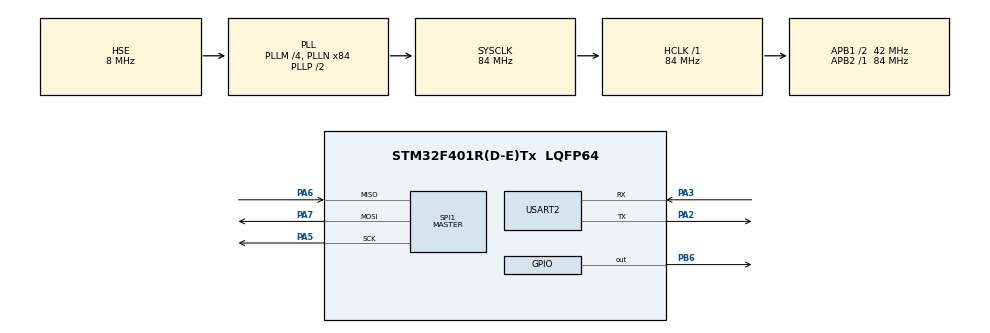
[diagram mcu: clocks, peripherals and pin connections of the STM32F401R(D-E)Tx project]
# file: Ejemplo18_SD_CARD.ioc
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FATFS._USE_CHMOD=1
Mcu.Family=STM32F4
Mcu.Name=STM32F401R(D-E)Tx
Mcu.Package=LQFP64
NVIC.PriorityGroup=NVIC_PRIORITYGROUP_4
PA13.Mode=Serial_Wire
PA13.Signal=SYS_JTMS-SWDIO
PA14.Mode=Serial_Wire
PA14.Signal=SYS_JTCK-SWCLK
PA2.Mode=Asynchronous
PA2.Signal=USART2_TX
PA3.Mode=Asynchronous
PA3.Signal=USART2_RX
PA5.Mode=Full_Duplex_Master
PA5.Signal=SPI1_SCK
PA6.Mode=Full_Duplex_Master
PA6.Signal=SPI1_MISO
PA7.Mode=Full_Duplex_Master
PA7.Signal=SPI1_MOSI
PB6.PinState=GPIO_PIN_SET
PB6.Signal=GPIO_Output
PH0\ -\ OSC_IN.Mode=HSE-External-Clock-Source
PH0\ -\ OSC_IN.Signal=RCC_OSC_IN
PH1\ -\ OSC_OUT.Mode=HSE-External-Clock-Source
PH1\ -\ OSC_OUT.Signal=RCC_OSC_OUT
ProjectManager.HeapSize=0x200
ProjectManager.StackSize=0x400
ProjectManager.TargetToolchain=STM32CubeIDE
RCC.48MHZClocksFreq_Value=42000000
RCC.AHBFreq_Value=84000000
RCC.APB1CLKDivider=RCC_HCLK_DIV2
RCC.APB1Freq_Value=42000000
RCC.APB1TimFreq_Value=84000000
RCC.APB2Freq_Value=84000000
RCC.APB2TimFreq_Value=84000000
RCC.CortexFreq_Value=84000000
RCC.HCLKFreq_Value=84000000
RCC.HSE_VALUE=8000000
RCC.HSI_VALUE=16000000
RCC.LSE_VALUE=32768
RCC.PLLM=4
RCC.PLLN=84
RCC.PLLSourceVirtual=RCC_PLLSOURCE_HSE
RCC.SYSCLKFreq_VALUE=84000000
RCC.SYSCLKSource=RCC_SYSCLKSOURCE_PLLCLK
RCC.VCOOutputFreq_Value=168000000
SPI1.BaudRatePrescaler=SPI_BAUDRATEPRESCALER_16
SPI1.Direction=SPI_DIRECTION_2LINES
SPI1.Mode=SPI_MODE_MASTER
SPI1.VirtualType=VM_MASTER
USART2.VirtualMode=VM_ASYNC
VP_FATFS_VS_Generic.Mode=User_defined
board=custom

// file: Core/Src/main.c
/* USER CODE BEGIN Header */
/**
  ******************************************************************************
  * @file           : main.c
  * @brief          : Main program body
  ******************************************************************************
  * @attention
  *
  * Copyright (c) 2023 STMicroelectronics.
  * All rights reserved.
  *
  * This software is licensed under terms that can be found in the LICENSE file
  * in the root directory of this software component.
  * If no LICENSE file comes with this software, it is provided AS-IS.
  *
  ******************************************************************************
  */
/* USER CODE END Header */
#include "main.h"
#include "fatfs.h"
#include "spi.h"
#include "usart.h"
#include "gpio.h"

/* USER CODE BEGIN Includes */
#include "fatfs_sd.h"
#include "string.h"
#include "stdio.h"
/* USER CODE END Includes */

void SystemClock_Config(void);

/* USER CODE BEGIN 0 */

FATFS fs; //Manager del systema
FIL file; //archivos
FILINFO fno;//pedir informacion de los archivos
FRESULT fresul;//resultado de operacion
UINT br,bw;
//archivos pra lectura de almacenamiento
FATFS *pfs;
DWORD free_clust;
uint32_t Mtotal,Mlibre;
DIR di;
char buffer[300];
int __io_putchar(int ch){

	  HAL_UART_Transmit(&huart2, (const uint8_t *)&ch, (uint16_t)1, HAL_MAX_DELAY);

	  return ch;
}

int buffesize(char *s){

	int bs=0;
	while(*s++)bs++;

	return bs;
}

/* USER CODE END 0 */

int main(void)
{

  /* MCU Configuration--------------------------------------------------------*/

  /* Reset of all peripherals, Initializes the Flash interface and the Systick. */
  HAL_Init();

  /* Configure the system clock */
  SystemClock_Config();

  /* Initialize all configured peripherals */
  MX_GPIO_Init();
  MX_SPI1_Init();
  MX_USART2_UART_Init();
  MX_FATFS_Init();
  /* USER CODE BEGIN 2 */
  printf("Tema SDCARD\r\n");
  //Capacidad de almacenamiento
 fresul = f_mount(&fs, "/", 1);
switch (fresul) {
	case FR_OK:
		printf("SD CARD Correctamente Montado\n\r");
		break;
	default:
		printf("SD CARD Fallo en el Montaje :C \n\r");
		Error_Handler();
		break;
}

	f_getfree("", &free_clust, &pfs);
	Mtotal = (uint32_t)  pfs->n_fatent*(pfs->csize*0.5);
	printf("Espacio total : %lu\n\r",Mtotal);
	Mlibre = (uint32_t)  pfs->free_clst*(pfs->csize*0.5);
	printf("Espacio libre: %lu\n\r",Mlibre);
	HAL_Delay(500);

	//Creacion & escritura de un archivo
	fresul = f_open(&file, "doc1.txt", FA_WRITE);
	switch (fresul) {
		case FR_OK:
			printf("Archivo creado :D\n\r");
			break;
		default:
			printf("ERROR :C \n\r");
			Error_Handler();
			break;
	}

char * text = " hola a todos";
f_write(&file,text , buffesize(text), &bw);
	fresul = f_close(&file);
	if (fresul == FR_OK) {
		printf("Archivo Cerrado y escrito\n\r");
	}

	f_mkdir("Dir1");
	//f_opendir(&di, "Dir1");

	//Lectura sd CARD

	fresul = f_open(&file, "tramajson.txt", FA_READ);
	if (fresul == FR_OK) {
		printf("Archivo JSON ABIERTO\n\r");
	}

	f_read(&file, buffer, 50, &br);
	printf(buffer);
	printf("\n\r");
	fresul = f_close(&file);

//Me Desmonto de la BOARD
fresul = f_mount(NULL, "/", 1);
switch (fresul) {
	case FR_OK:
		printf("SD CARD Correctamente DESMontado\n\r");
		break;
	default:
		printf("SD CARD Fallo en el DesMontaje :C \n\r");
		Error_Handler();
		break;
}
  /* USER CODE END 2 */

  /* Infinite loop */
  while (1)
  {

  }
}

void SystemClock_Config(void)
{
  RCC_OscInitTypeDef RCC_OscInitStruct = {0};
  RCC_ClkInitTypeDef RCC_ClkInitStruct = {0};

  /** Configure the main internal regulator output voltage
  */
  __HAL_RCC_PWR_CLK_ENABLE();
  __HAL_PWR_VOLTAGESCALING_CONFIG(PWR_REGULATOR_VOLTAGE_SCALE2);

  /** Initializes the RCC Oscillators according to the specified parameters
  * in the RCC_OscInitTypeDef structure.
  */
  RCC_OscInitStruct.OscillatorType = RCC_OSCILLATORTYPE_HSE;
  RCC_OscInitStruct.HSEState = RCC_HSE_BYPASS;
  RCC_OscInitStruct.PLL.PLLState = RCC_PLL_ON;
  RCC_OscInitStruct.PLL.PLLSource = RCC_PLLSOURCE_HSE;
  RCC_OscInitStruct.PLL.PLLM = 4;
  RCC_OscInitStruct.PLL.PLLN = 84;
  RCC_OscInitStruct.PLL.PLLP = RCC_PLLP_DIV2;
  RCC_OscInitStruct.PLL.PLLQ = 4;
  if (HAL_RCC_OscConfig(&RCC_OscInitStruct) != HAL_OK)
  {
    Error_Handler();
  }

  /** Initializes the CPU, AHB and APB buses clocks
  */
  RCC_ClkInitStruct.ClockType = RCC_CLOCKTYPE_HCLK|RCC_CLOCKTYPE_SYSCLK
                              |RCC_CLOCKTYPE_PCLK1|RCC_CLOCKTYPE_PCLK2;
  RCC_ClkInitStruct.SYSCLKSource = RCC_SYSCLKSOURCE_PLLCLK;
  RCC_ClkInitStruct.AHBCLKDivider = RCC_SYSCLK_DIV1;
  RCC_ClkInitStruct.APB1CLKDivider = RCC_HCLK_DIV2;
  RCC_ClkInitStruct.APB2CLKDivider = RCC_HCLK_DIV1;

  if (HAL_RCC_ClockConfig(&RCC_ClkInitStruct, FLASH_LATENCY_2) != HAL_OK)
  {
    Error_Handler();
  }
}

void Error_Handler(void)
{
  __disable_irq();
  while (1)
  {
  }
}
